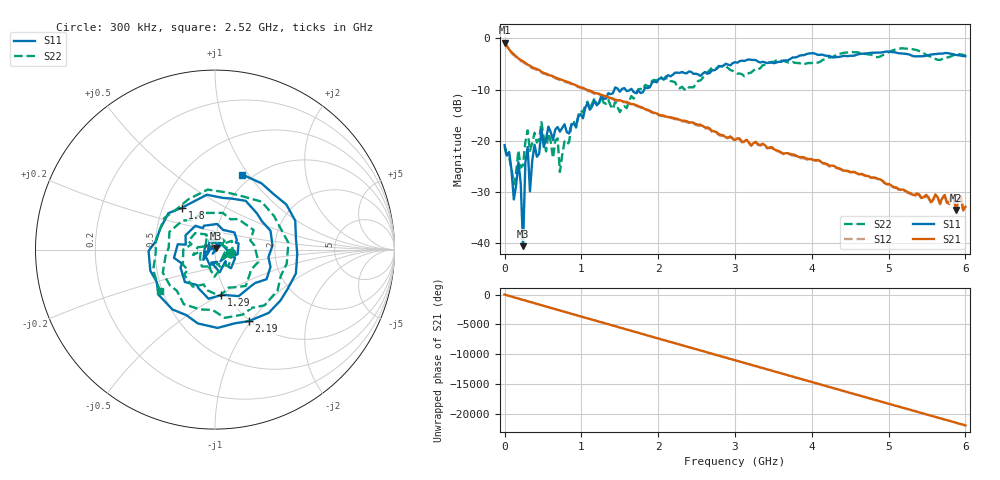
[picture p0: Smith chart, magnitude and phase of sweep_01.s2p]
! 2-port S-parameters written by miniscope-char acquisition
! instrument: Pico Technology Ltd,PicoVNA-106,10080,5.3.4
! transport: scpi
! endpoint: 127.0.0.1:5025
! demo: false
! calibration: user
! calibration_file: June 2026 Short cable calibration.calx
# HZ S RI R 50
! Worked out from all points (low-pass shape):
!   201 points, 300 kHz to 6 GHz, reference 50 ohm
!   highest |S21| = -0.84 dB at 300 kHz (marker M1); lowest = -33.6 dB at 5.88 GHz (marker M2)
!   |S21| within 3 dB of the highest: start of sweep to 174.2 MHz
!   lowest |S11| = -40.7 dB at 240.3 MHz (marker M3), VSWR 1.02, Z = 50.3 + j0.872 ohm
!   |S11| at or under -10 dB: start of sweep to 1.43 GHz; 1.575 GHz to 1.639 GHz (64.1 MHz wide, 3.99 % of centre); 1.657 GHz to 1.818 GHz (161.6 MHz wide, 9.3 % of centre)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
!   |S22| runs from -28.5 to -1.9 dB; largest |S21 - S12| = 0.052
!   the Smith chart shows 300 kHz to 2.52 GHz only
!   S11 on the Smith chart (normalised r, x): 300 kHz: 1.19, -0.05; 1.29 GHz: 0.93, -0.51; 1.8 GHz: 0.63, +0.32; 2.19 GHz: 0.99, -0.98; 2.52 GHz: 0.90, +0.94
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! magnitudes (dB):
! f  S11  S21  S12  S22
! 300 kHz  -20.9  -0.8  -0.4  -21.2
! 120.3 MHz  -31.5  -3.1  -3.3  -28.5
! 180.3 MHz  -24.2  -3.9  -4.1  -21.9
! 240.3 MHz  -40.7  -4.5  -4.7  -24.8
! 270.3 MHz  -24.3  -4.8  -4.9  -20.3
! 300.3 MHz  -21.3  -5.1  -5.3  -18.0
! 330.3 MHz  -29.9  -5.3  -5.5  -22.0
! 480.3 MHz  -17.8  -6.5  -6.7  -16.4
! 540.3 MHz  -19.6  -6.9  -7.0  -22.1
! 690.3 MHz  -17.3  -7.8  -8.0  -19.6
! 720.3 MHz  -18.3  -8.0  -8.1  -26.1
! 1.02 GHz  -15.6  -9.7  -9.8  -14.5
! 1.29 GHz  -11.8  -11.2  -11.3  -12.6
! 1.8 GHz  -10.5  -13.6  -13.7  -10.1
! 2.01 GHz  -7.9  -15.0  -15.1  -7.6
! 2.19 GHz  -7.1  -15.6  -15.7  -8.4
! 2.52 GHz  -7.0  -16.9  -17.1  -8.3
! 3 GHz  -4.7  -19.9  -20.1  -6.6
! 4.02 GHz  -2.9  -23.8  -23.9  -4.7
! 5.01 GHz  -2.6  -28.5  -28.6  -2.6
! 5.88 GHz  -3.3  -33.6  -33.8  -3.1
! 6 GHz  -3.5  -33.0  -33.2  -3.3
